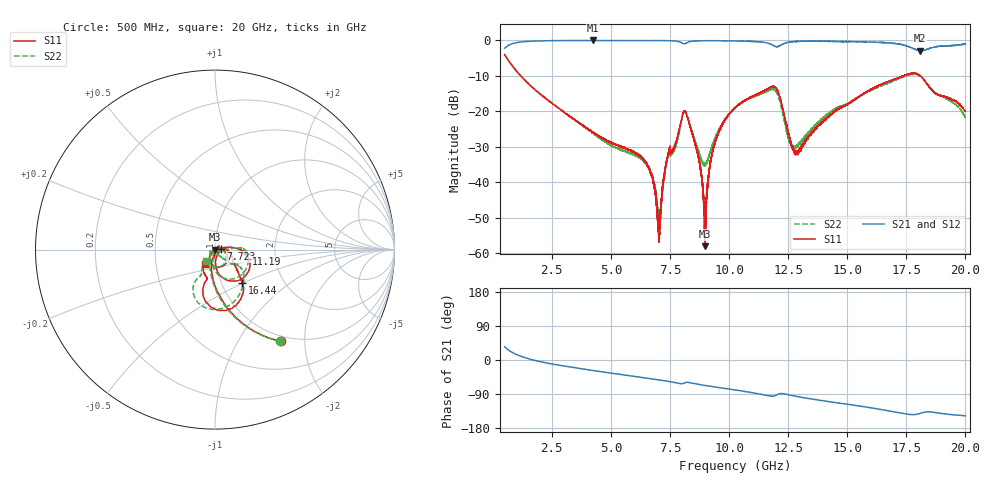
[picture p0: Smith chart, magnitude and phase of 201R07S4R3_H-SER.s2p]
!{201R07S4R3}
!Johanson Technology Inc.
!www.johansontechnology.com
!Test Board Conditions:
!Substrate Type  RO4350B
!Substrate Thickness  10 mil
!Substrate Dk  3.66
!TL Type: GCPW
!TL Trace Width  21 mil
!TL Gap  20 mil
!Electrode orientation  Horizontal
!DUT TOPOLOGY	SERIES
!Mounting Pad LxW  16x21 mil
!Agilent Technologies,N5230A,MY45001966,A.07.50.67
!Agilent N5230A: A.07.50.67
!Created Mon Mar  9 15:09:30 2020
# mhz S ma R 50
! 2 Port Network Data from SP1.SP block
! freq  magS11  angS11  magS21  angS21  magS12  angS12  magS22  angS22
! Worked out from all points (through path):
!   19501 points, 500 MHz to 20 GHz, reference 50 ohm
!   highest |S21| = -0.04 dB at 4.248 GHz (marker M1); lowest = -3.0 dB at 18.09 GHz (marker M2)
!   group delay of S21, straight-line fit = 23.4 ps
!   lowest |S11| = -58.0 dB at 8.976 GHz (marker M3), VSWR 1.00, Z = 50 - j0.123 ohm
!   |S11| at or under -10 dB: 1.181 GHz to 17.39 GHz (16.21 GHz wide, 175 % of centre); 18.0898 GHz to 18.09125 GHz (1.455 MHz wide, 0.00804 % of centre); 18.1 GHz to end of sweep
!   |S22| runs from -52.5 to -4.0 dB; largest |S21 - S12| = 0.016
!   S11 on the Smith chart (normalised r, x): 500 MHz: 0.91, -1.54; 7.723 GHz: 1.07, +0.01; 11.19 GHz: 1.41, -0.07; 16.44 GHz: 1.25, -0.49; 20 GHz: 0.88, -0.15
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500  0.6278 -54.4  0.7728 35.2  0.7736 35.2  0.6281 -54.5
1433  0.2595 -84.0  0.9628 4.9  0.9628 4.9  0.2613 -85.4
3750  0.06544 -106.0  0.9922 -23.3  0.9936 -23.2  0.06481 -115.7
4248  0.0505 -105.3  0.9948 -27.8  0.9925 -27.8  0.04885 -124.2
6428  0.01958 -97.5  0.9904 -47.1  0.9921 -47.2  0.01953 -170.3
6784  0.01074 -101.4  0.9909 -50.3  0.9906 -50.4  0.01096 -160.8
7000  0.002751 -72.7  0.9904 -52.3  0.9906 -52.3  0.003645 -130.8
7403  0.02293 45.8  0.9856 -56.1  0.9871 -56.1  0.02378 -1.6
7723  0.03455 5.4  0.9778 -59.6  0.9778 -59.7  0.03222 10.2
8188  0.09408 -90.5  0.9129 -59.1  0.9138 -59.0  0.09194 -95.0
8693  0.02322 -137.4  0.9821 -64.3  0.9829 -64.3  0.02748 -116.5
8976  0.001265 -77.2  0.985 -67.1  0.9848 -67.1  0.01701 -65.1
9396  0.03572 15.6  0.9858 -71.0  0.9856 -71.0  0.04041 -9.4
10250  0.1126 5.0  0.9786 -79.0  0.9794 -79.0  0.1119 4.7
11192  0.1737 -7.9  0.9596 -88.8  0.9561 -88.5  0.1691 -2.1
11999  0.209 -56.9  0.8137 -92.7  0.8171 -92.9  0.187 -61.4
12830  0.02814 -37.8  0.9603 -95.9  0.9636 -95.8  0.03108 -65.2
13500  0.05152 3.8  0.9741 -103.1  0.9697 -103.0  0.05513 -48.9
16443  0.2404 -50.5  0.935 -130.9  0.9278 -130.7  0.2289 -45.6
16750  0.2632 -53.1  0.9233 -134.1  0.9118 -134.2  0.2536 -51.8
18091  0.3161 -95.1  0.7109 -140.8  0.7147 -140.6  0.3131 -106.3
20000  0.09992 -124.2  0.8882 -147.5  0.8899 -147.5  0.08242 -129.5
